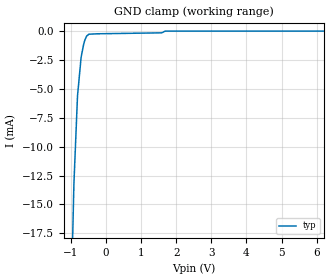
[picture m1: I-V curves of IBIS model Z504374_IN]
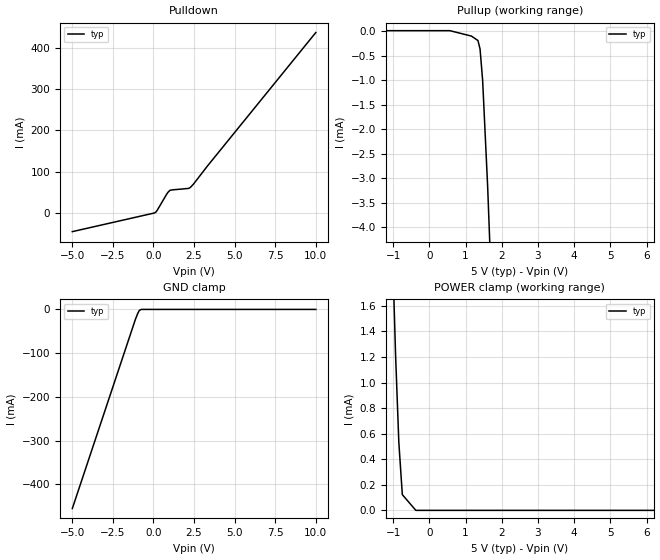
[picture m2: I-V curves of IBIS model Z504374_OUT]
| YOU ARE ONLY AUTHORIZED TO USE THIS SOFTWARE
| ACCORDING TO LICENSOR'S LICENSE RESTRICTIONS.
[IBIS Ver] 3.1
[File Name] sn54ls132j.ibs
[File Rev] 2.0
[Source] Measured and created by ICX Technology
[Date] Friday 7/14/00 9:08:13 AM
[Copyright]
| (C) COPYRIGHT 1993-2000
| MENTOR GRAPHICS CORPORATION
| ICX STANDARD LIBRARY, ICX PROJECT MODELING,
| ICX CUSTOM MODELING, ICX VENDOR MODEL
| ALL RIGHTS RESERVED.
| THE FOLLOWING ARE TRADEMARKS OR SERVICE MARKS OF
| MENTOR GRAPHICS CORPORATION:ICX (R), ICX STANDARD
| LIBRARY(R), ICX PROJECT MODELING(R), ICX CUSTOM
| MODELING(R), qualityIBIS(TM), MODELVIEWER(TM),
| AND MODELEDITOR(TM)
| ALL COPIES OF SOFTWARE, INCLUDING BUT NOT LIMITED TO
| ANY MODIFICATIONS, ENHANCEMENTS OR DERIVATIVE WORKS,
| MUST CONTAIN ALL MENTOR GRAPHICS CORPORATION'S
| NOTICES AND LEGENDS, INCLUDING THOSE EMBEDDED IN
| SOFTWARE AND THOSE AFFIXED TO SOFTWARE MEDIUM
| AND CONTAINER, AS RECEIVED FROM MENTOR GRAPHICS
| CORPORATION.
|  ZAP Model Builder 2.7
[Component] SN54LS132J
[Manufacturer] OnSemiconductor
[Package]
| variable   typ   min   max
R_pkg  .21ohms NA NA
L_pkg  4.543nH NA NA
C_pkg  1.8pF NA NA
[Pin] signal_name  model_name  R_pin  L_pin C_pin
1 A Z504374_IN .22 6.757n 2.434p
2 B Z504374_IN .212 4.757n 1.941p
3 Y Z504374_OUT .204 3.257n 1.448p
4 A Z504374_IN .196 2.257n .955p
5 B Z504374_IN .204 3.257n 1.448p
6 Y Z504374_OUT .212 4.757n 1.941p
7 GND GND .22 6.757n 2.434p
8 Y Z504374_OUT .22 6.757n 2.434p
9 A Z504374_IN .212 4.757n 1.941p
10 B Z504374_IN .204 3.257n 1.448p
11 Y Z504374_OUT .196 2.257n .955p
12 A Z504374_IN .204 3.257n 1.448p
13 B Z504374_IN .212 4.757n 1.941p
14 VCC POWER .22 6.757n 2.434p
| Models and submodels in the file (2): Z504374_IN (Input), Z504374_OUT (Output)
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| (C) COPYRIGHT 1993-2000
| MENTOR GRAPHICS CORPORATION
| ICX STANDARD LIBRARY, ICX PROJECT MODELING,
| ICX CUSTOM MODELING, ICX VENDOR MODEL
| ALL RIGHTS RESERVED.
| THE FOLLOWING ARE TRADEMARKS OR SERVICE MARKS OF
| MENTOR GRAPHICS CORPORATION:ICX (R), ICX STANDARD
| LIBRARY(R), ICX PROJECT MODELING(R), ICX CUSTOM
| MODELING(R), qualityIBIS(TM), MODELVIEWER(TM),
| AND MODELEDITOR(TM)
| ALL COPIES OF SOFTWARE, INCLUDING BUT NOT LIMITED TO
| ANY MODIFICATIONS, ENHANCEMENTS OR DERIVATIVE WORKS,
| MUST CONTAIN ALL MENTOR GRAPHICS CORPORATION'S
| NOTICES AND LEGENDS, INCLUDING THOSE EMBEDDED IN
| SOFTWARE AND THOSE AFFIXED TO SOFTWARE MEDIUM
| AND CONTAINER, AS RECEIVED FROM MENTOR GRAPHICS
| CORPORATION.
| Model Application Version 1.89 2/18/99.
[Model] Z504374_IN
Model_type Input
Vinl = 800.0mV
Vinh = 2.000V
C_comp 4.000pF NA NA
| variable typ   min   max
[Voltage Range] 5.000V NA NA
[GND Clamp Reference] 0.000V NA NA
[POWER Clamp Reference] 5.000V NA NA
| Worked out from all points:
|   GND clamp passes 1 mA (typ) near -0.62 V on its own axis
[GND Clamp]
-5V       -547.3mA   NA         NA
-913mV    -13.24mA   NA         NA
-810.5mV  -5.616mA   NA         NA
-707.4mV  -2.265mA   NA         NA
-634.8mV  -1.14mA    NA         NA
-600.6mV  -770.3uA   NA         NA
-546.8mV  -417.2uA   NA         NA
-483.4mV  -273.7uA   NA         NA
-241.7mV  -237.2uA   NA         NA
1.587V    -155.8uA   NA         NA
1.685V    -6.636uA   NA         NA
10V       -4.079uA   NA         NA
[POWER Clamp]
-5V       0A         NA         NA
10V       0A         NA         NA
| (C) COPYRIGHT 1993-2000
| MENTOR GRAPHICS CORPORATION
| ICX STANDARD LIBRARY, ICX PROJECT MODELING,
| ICX CUSTOM MODELING, ICX VENDOR MODEL
| ALL RIGHTS RESERVED.
| THE FOLLOWING ARE TRADEMARKS OR SERVICE MARKS OF
| MENTOR GRAPHICS CORPORATION:ICX (R), ICX STANDARD
| LIBRARY(R), ICX PROJECT MODELING(R), ICX CUSTOM
| MODELING(R), qualityIBIS(TM), MODELVIEWER(TM),
| AND MODELEDITOR(TM)
| ALL COPIES OF SOFTWARE, INCLUDING BUT NOT LIMITED TO
| ANY MODIFICATIONS, ENHANCEMENTS OR DERIVATIVE WORKS,
| MUST CONTAIN ALL MENTOR GRAPHICS CORPORATION'S
| NOTICES AND LEGENDS, INCLUDING THOSE EMBEDDED IN
| SOFTWARE AND THOSE AFFIXED TO SOFTWARE MEDIUM
| AND CONTAINER, AS RECEIVED FROM MENTOR GRAPHICS
| CORPORATION.
| Model Application Version 1.89 2/18/99.
[Model] Z504374_OUT
Model_type Output
Vref=5.000V
Rref=2.000kohms
Cref=15.00pF
Vmeas=1.300V
C_comp 8.000pF NA NA
| variable typ   min   max
[Voltage Range] 5.000V NA NA
[POWER Clamp Reference] 5.000V NA NA
[Pullup Reference] 5.000V NA NA
[Pulldown Reference] 0.000V NA NA
[GND Clamp Reference] 0.000V NA NA
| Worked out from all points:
|   slope of the pulldown table from 0 to 0.75 V, typ, clamps not added: 17.9 ohm
|   slope of the pullup table from 0 to 0.75 V, typ, clamps not added: 21.9 kohm
|   GND clamp passes 1 mA (typ) near -0.80 V on its own axis
|   POWER clamp passes 1 mA (typ) near -0.91 V on its own axis
[GND Clamp]
-5V       -455.5mA   NA         NA
-1.113V   -22.67mA   NA         NA
-985.6mV  -10.68mA   NA         NA
-874mV    -2.272mA   NA         NA
-749.1mV  0A         NA         NA
10V       0A         NA         NA
[Pulldown]
-5V       -46.35mA   NA         NA
68.36mV   -798.8uA   NA         NA
224.4mV   5.326mA    NA         NA
816.7mV   45.05mA    NA         NA
1.007V    53.98mA    NA         NA
2.099V    58.59mA    NA         NA
2.275V    61.44mA    NA         NA
10V       438.5mA    NA         NA
[Pullup]
-5V       15.56uA    NA         NA
566mV     15.56uA    NA         NA
1.164V    -95.54uA   NA         NA
1.343V    -185.9uA   NA         NA
1.401V    -361.1uA   NA         NA
1.472V    -999.3uA   NA         NA
1.611V    -3.173mA   NA         NA
10V       -166.9mA   NA         NA
[POWER Clamp]
-5V       48.87mA    NA         NA
-1.011V   1.96mA     NA         NA
-934mV    1.221mA    NA         NA
-844mV    534.7uA    NA         NA
-747mV    122.9uA    NA         NA
-373.5mV  0A         NA         NA
10V       0A         NA         NA
[Ramp]
| variable typ min max
dV/dt_r 1.877/7.689n NA NA
dV/dt_f 1.877/1.870n NA NA
R_load = 500.0Ohms
